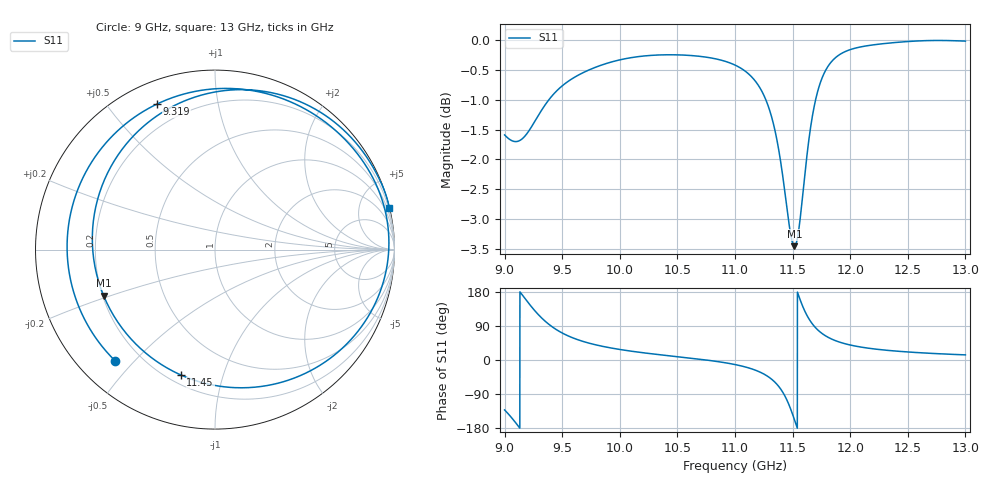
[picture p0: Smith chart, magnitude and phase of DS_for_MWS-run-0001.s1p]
! TOUCHSTONE file generated by CST DESIGN STUDIO
! Date and time: Tue Feb  4 12:43:34 2025
! Project name: C:\Work\MatlabApps\UnitCellOptimizationMatlab\CST\unitcell.cst
! Tree item: Tasks\Sweep1\SPara1\S-Parameters
! Header version: 2024
! Port assignment regex: !\s*Touchstone port\s*([0-9]+)\s*=\s*(CST MWS port|CST DES external port|CST DES block port)\s*(.+)\s* \(\"(.*)\"\)(\s*mode\s*([0-9]+))?.*
! Touchstone port assignment:
! Touchstone port 1 = CST DES external port 1 ("")
# GHz S MA R 50
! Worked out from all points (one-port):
!   4001 points, 9 GHz to 13 GHz, reference 50 ohm
!   lowest |S11| = -3.5 dB at 11.52 GHz (marker M1), VSWR 5.09, Z = 10.2 - j9.55 ohm
!   |S11| at or under -10 dB: nowhere
!   S11 on the Smith chart (normalised r, x): 9 GHz: 0.11, -0.44; 9.319 GHz: 0.10, +0.67; 11.45 GHz: 0.25, -0.73; 13 GHz: 0.05, +8.43
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9  0.8329 -131.8
9.09  0.8223 -163.3
9.156  0.8271 170.6
9.243  0.849 136.9
9.319  0.873 111.7
9.398  0.8949 91.0
9.5  0.9158 71.3
9.705  0.9418 46.8
10  0.963 27.8
10.5  0.9724 8.7
11  0.9534 -12.0
11.168  0.9264 -25.8
11.283  0.8837 -42.9
11.369  0.82 -65.8
11.414  0.7697 -84.7
11.45  0.7239 -105.3
11.5  0.6756 -143.4
11.516  0.6716 -157.5
11.546  0.6856 175.6
11.576  0.723 150.5
11.622  0.7966 119.2
11.67  0.8617 95.9
11.735  0.9179 74.9
11.805  0.9503 60.4
11.891  0.9703 48.9
12  0.9823 39.6
12.5  0.9978 21.2
13  0.9986 13.5
